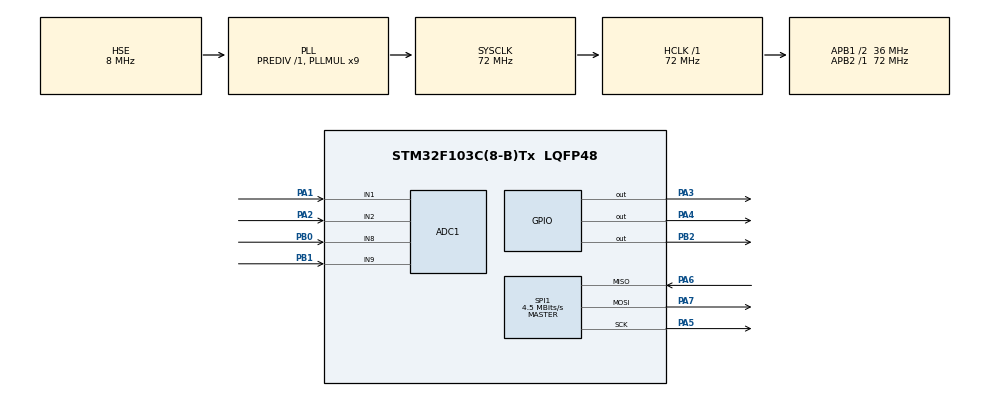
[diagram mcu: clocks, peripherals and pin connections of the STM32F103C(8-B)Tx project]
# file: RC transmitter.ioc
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ADC1.Channel-0\#ChannelRegularConversion=ADC_CHANNEL_1
ADC1.Channel-1\#ChannelRegularConversion=ADC_CHANNEL_2
ADC1.Channel-2\#ChannelRegularConversion=ADC_CHANNEL_8
ADC1.Channel-3\#ChannelRegularConversion=ADC_CHANNEL_9
ADC1.ContinuousConvMode=ENABLE
ADC1.NbrOfConversion=4
ADC1.NbrOfConversionFlag=1
ADC1.Rank-0\#ChannelRegularConversion=1
ADC1.Rank-1\#ChannelRegularConversion=2
ADC1.Rank-2\#ChannelRegularConversion=3
ADC1.Rank-3\#ChannelRegularConversion=4
ADC1.SamplingTime-0\#ChannelRegularConversion=ADC_SAMPLETIME_55CYCLES_5
ADC1.SamplingTime-1\#ChannelRegularConversion=ADC_SAMPLETIME_55CYCLES_5
ADC1.SamplingTime-2\#ChannelRegularConversion=ADC_SAMPLETIME_55CYCLES_5
ADC1.SamplingTime-3\#ChannelRegularConversion=ADC_SAMPLETIME_55CYCLES_5
ADC1.master=1
Dma.ADC1.0.Direction=DMA_PERIPH_TO_MEMORY
Dma.ADC1.0.Instance=DMA1_Channel1
Dma.ADC1.0.MemDataAlignment=DMA_MDATAALIGN_HALFWORD
Dma.ADC1.0.MemInc=DMA_MINC_ENABLE
Dma.ADC1.0.Mode=DMA_CIRCULAR
Dma.ADC1.0.PeriphDataAlignment=DMA_PDATAALIGN_HALFWORD
Dma.ADC1.0.PeriphInc=DMA_PINC_DISABLE
Dma.ADC1.0.Priority=DMA_PRIORITY_HIGH
Dma.Request0=ADC1
Mcu.Family=STM32F1
Mcu.Name=STM32F103C(8-B)Tx
Mcu.Package=LQFP48
NVIC.DMA1_Channel1_IRQn=true\:0\:0\:false\:false\:true\:false\:true\:true
NVIC.PriorityGroup=NVIC_PRIORITYGROUP_4
PA1.Signal=ADCx_IN1
PA13.Mode=Serial_Wire
PA13.Signal=SYS_JTMS-SWDIO
PA14.Mode=Serial_Wire
PA14.Signal=SYS_JTCK-SWCLK
PA2.Signal=ADCx_IN2
PA3.Signal=GPIO_Output
PA4.Signal=GPIO_Output
PA5.Mode=Full_Duplex_Master
PA5.Signal=SPI1_SCK
PA6.Mode=Full_Duplex_Master
PA6.Signal=SPI1_MISO
PA7.Mode=Full_Duplex_Master
PA7.Signal=SPI1_MOSI
PB0.Signal=ADCx_IN8
PB1.Signal=ADCx_IN9
PB2.Signal=GPIO_Output
PD0-OSC_IN.Mode=HSE-External-Oscillator
PD0-OSC_IN.Signal=RCC_OSC_IN
PD1-OSC_OUT.Mode=HSE-External-Oscillator
PD1-OSC_OUT.Signal=RCC_OSC_OUT
ProjectManager.HeapSize=0x200
ProjectManager.StackSize=0x400
ProjectManager.TargetToolchain=STM32CubeIDE
RCC.ADCPresc=RCC_ADCPCLK2_DIV6
RCC.AHBFreq_Value=72000000
RCC.APB1CLKDivider=RCC_HCLK_DIV2
RCC.APB1Freq_Value=36000000
RCC.APB1TimFreq_Value=72000000
RCC.APB2Freq_Value=72000000
RCC.APB2TimFreq_Value=72000000
RCC.HCLKFreq_Value=72000000
RCC.PLLMUL=RCC_PLL_MUL9
RCC.PLLSourceVirtual=RCC_PLLSOURCE_HSE
RCC.SYSCLKFreq_VALUE=72000000
RCC.SYSCLKSource=RCC_SYSCLKSOURCE_PLLCLK
RCC.USBFreq_Value=72000000
SH.ADCx_IN1.0=ADC1_IN1,IN1
SH.ADCx_IN2.0=ADC1_IN2,IN2
SH.ADCx_IN8.0=ADC1_IN8,IN8
SH.ADCx_IN9.0=ADC1_IN9,IN9
SPI1.BaudRatePrescaler=SPI_BAUDRATEPRESCALER_16
SPI1.CalculateBaudRate=4.5 MBits/s
SPI1.DataSize=SPI_DATASIZE_8BIT
SPI1.Direction=SPI_DIRECTION_2LINES
SPI1.Mode=SPI_MODE_MASTER
SPI1.VirtualType=VM_MASTER
board=custom

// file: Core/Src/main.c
/* USER CODE BEGIN Header */
/**
  ******************************************************************************
  * @file           : main.c
  * @brief          : Main program body
  ******************************************************************************
  * @attention
  *
  * Copyright (c) 2026 STMicroelectronics.
  * All rights reserved.
  *
  * This software is licensed under terms that can be found in the LICENSE file
  * in the root directory of this software component.
  * If no LICENSE file comes with this software, it is provided AS-IS.
  *
  ******************************************************************************
  */
/* USER CODE END Header */
#include "main.h"

/* USER CODE BEGIN Includes */
#include "NRF24L01.h"
#include "math.h"
/* USER CODE END Includes */

/* USER CODE BEGIN PTD */
typedef struct {
	uint16_t Throttle;
	uint16_t Roll;
	uint16_t Rudder;
	uint16_t Elevator;
}Control;
/* USER CODE END PTD */

ADC_HandleTypeDef hadc1;
DMA_HandleTypeDef hdma_adc1;

SPI_HandleTypeDef hspi1;

/* USER CODE BEGIN PV */
uint8_t TxAddress[] = {0xEE,0xDD,0xCC,0xBB,0xAA};
uint16_t adc_values[4];
float x_f = 3200.0f;
float y_f = 3030.0f;
float x1_f = 3210.0f;
float y1_f = 3120.0f;
Control rc_plane;
/* USER CODE END PV */

void SystemClock_Config(void);
static void MX_GPIO_Init(void);
static void MX_DMA_Init(void);
static void MX_ADC1_Init(void);
static void MX_SPI1_Init(void);

/* USER CODE BEGIN 0 */
int SoftDeadzone(int value, int center, int dead, float expo, float max, float min) {
    int diff = value - center;
    int abs_diff = abs(diff);
    if (abs_diff <= dead) return 1500;
    int max_range = (diff > 0) ? (4095 - center - dead) : (center - dead - 10);
    if (max_range <= 0) return 1500;
    float normalized = (float)(abs_diff - dead) / max_range;
    if (normalized > 1.0f) normalized = 1.0f;
    float curved = powf(normalized, expo);
    float output;
    if (diff > 0) {
    	output = 1500.0f + (curved * (max - 1500.0f));
    } else {
    	output = 1500.0f - (curved * (1500.0f - min));
    }
    return (int)output;
}
/* USER CODE END 0 */

int main(void)
{

  /* MCU Configuration--------------------------------------------------------*/

  /* Reset of all peripherals, Initializes the Flash interface and the Systick. */
  HAL_Init();

  /* Configure the system clock */
  SystemClock_Config();

  /* Initialize all configured peripherals */
  MX_GPIO_Init();
  MX_DMA_Init();
  MX_ADC1_Init();
  MX_SPI1_Init();
  /* USER CODE BEGIN 2 */
  HAL_ADCEx_Calibration_Start(&hadc1);
  HAL_ADC_Start_DMA(&hadc1, (uint32_t*)adc_values, 4);
  NRF24_Init();
  NRF24_TxMode(TxAddress, 76);
  /* USER CODE END 2 */

  /* Infinite loop */
  /* USER CODE BEGIN WHILE */
  while (1)
  {
	  x_f = (adc_values[0] * 0.3f) + (x_f * 0.7f);
	  y_f = (adc_values[1] * 0.3f) + (y_f * 0.7f);
	  x1_f = (adc_values[3] * 0.3f) + (x1_f * 0.7f);
	  y1_f = (adc_values[2] * 0.3f) + (y1_f * 0.7f);

	  rc_plane.Throttle = SoftDeadzone((int)y_f, 3030, 6, 1.2f, 2500.0f, 500.0f);
	  rc_plane.Roll = 3000-(SoftDeadzone((int)x1_f, 3200, 6, 1.2f, 2050.0f, 950.0f));
	  rc_plane.Rudder = 3000-(SoftDeadzone((int)x_f, 3200, 6, 1.2f, 1900.0f, 1100.0f));
	  rc_plane.Elevator = 3000-(SoftDeadzone((int)y1_f, 3120, 6, 1.2f, 1900.0f, 900.0f));

	  if (NRF24_Transmit((uint8_t *)&rc_plane) == 1){
	  		  HAL_GPIO_WritePin(GPIOB, GPIO_PIN_2, 1);
	  	  }else{
	  		  HAL_GPIO_WritePin(GPIOB, GPIO_PIN_2, 0);
	  	  }

	  HAL_Delay(10);
	  //throttle = 3000 - throttle;

    /* USER CODE END WHILE */

  }
}

void SystemClock_Config(void)
{
  RCC_OscInitTypeDef RCC_OscInitStruct = {0};
  RCC_ClkInitTypeDef RCC_ClkInitStruct = {0};
  RCC_PeriphCLKInitTypeDef PeriphClkInit = {0};

  /** Initializes the RCC Oscillators according to the specified parameters
  * in the RCC_OscInitTypeDef structure.
  */
  RCC_OscInitStruct.OscillatorType = RCC_OSCILLATORTYPE_HSE;
  RCC_OscInitStruct.HSEState = RCC_HSE_ON;
  RCC_OscInitStruct.HSEPredivValue = RCC_HSE_PREDIV_DIV1;
  RCC_OscInitStruct.HSIState = RCC_HSI_ON;
  RCC_OscInitStruct.PLL.PLLState = RCC_PLL_ON;
  RCC_OscInitStruct.PLL.PLLSource = RCC_PLLSOURCE_HSE;
  RCC_OscInitStruct.PLL.PLLMUL = RCC_PLL_MUL9;
  if (HAL_RCC_OscConfig(&RCC_OscInitStruct) != HAL_OK)
  {
    Error_Handler();
  }

  /** Initializes the CPU, AHB and APB buses clocks
  */
  RCC_ClkInitStruct.ClockType = RCC_CLOCKTYPE_HCLK|RCC_CLOCKTYPE_SYSCLK
                              |RCC_CLOCKTYPE_PCLK1|RCC_CLOCKTYPE_PCLK2;
  RCC_ClkInitStruct.SYSCLKSource = RCC_SYSCLKSOURCE_PLLCLK;
  RCC_ClkInitStruct.AHBCLKDivider = RCC_SYSCLK_DIV1;
  RCC_ClkInitStruct.APB1CLKDivider = RCC_HCLK_DIV2;
  RCC_ClkInitStruct.APB2CLKDivider = RCC_HCLK_DIV1;

  if (HAL_RCC_ClockConfig(&RCC_ClkInitStruct, FLASH_LATENCY_2) != HAL_OK)
  {
    Error_Handler();
  }
  PeriphClkInit.PeriphClockSelection = RCC_PERIPHCLK_ADC;
  PeriphClkInit.AdcClockSelection = RCC_ADCPCLK2_DIV6;
  if (HAL_RCCEx_PeriphCLKConfig(&PeriphClkInit) != HAL_OK)
  {
    Error_Handler();
  }
}

static void MX_ADC1_Init(void)
{

  ADC_ChannelConfTypeDef sConfig = {0};

  /** Common config
  */
  hadc1.Instance = ADC1;
  hadc1.Init.ScanConvMode = ADC_SCAN_ENABLE;
  hadc1.Init.ContinuousConvMode = ENABLE;
  hadc1.Init.DiscontinuousConvMode = DISABLE;
  hadc1.Init.ExternalTrigConv = ADC_SOFTWARE_START;
  hadc1.Init.DataAlign = ADC_DATAALIGN_RIGHT;
  hadc1.Init.NbrOfConversion = 4;
  if (HAL_ADC_Init(&hadc1) != HAL_OK)
  {
    Error_Handler();
  }

  /** Configure Regular Channel
  */
  sConfig.Channel = ADC_CHANNEL_1;
  sConfig.Rank = ADC_REGULAR_RANK_1;
  sConfig.SamplingTime = ADC_SAMPLETIME_55CYCLES_5;
  if (HAL_ADC_ConfigChannel(&hadc1, &sConfig) != HAL_OK)
  {
    Error_Handler();
  }

  /** Configure Regular Channel
  */
  sConfig.Channel = ADC_CHANNEL_2;
  sConfig.Rank = ADC_REGULAR_RANK_2;
  if (HAL_ADC_ConfigChannel(&hadc1, &sConfig) != HAL_OK)
  {
    Error_Handler();
  }

  /** Configure Regular Channel
  */
  sConfig.Channel = ADC_CHANNEL_8;
  sConfig.Rank = ADC_REGULAR_RANK_3;
  if (HAL_ADC_ConfigChannel(&hadc1, &sConfig) != HAL_OK)
  {
    Error_Handler();
  }

  /** Configure Regular Channel
  */
  sConfig.Channel = ADC_CHANNEL_9;
  sConfig.Rank = ADC_REGULAR_RANK_4;
  if (HAL_ADC_ConfigChannel(&hadc1, &sConfig) != HAL_OK)
  {
    Error_Handler();
  }

}

static void MX_SPI1_Init(void)
{

  /* SPI1 parameter configuration*/
  hspi1.Instance = SPI1;
  hspi1.Init.Mode = SPI_MODE_MASTER;
  hspi1.Init.Direction = SPI_DIRECTION_2LINES;
  hspi1.Init.DataSize = SPI_DATASIZE_8BIT;
  hspi1.Init.CLKPolarity = SPI_POLARITY_LOW;
  hspi1.Init.CLKPhase = SPI_PHASE_1EDGE;
  hspi1.Init.NSS = SPI_NSS_SOFT;
  hspi1.Init.BaudRatePrescaler = SPI_BAUDRATEPRESCALER_16;
  hspi1.Init.FirstBit = SPI_FIRSTBIT_MSB;
  hspi1.Init.TIMode = SPI_TIMODE_DISABLE;
  hspi1.Init.CRCCalculation = SPI_CRCCALCULATION_DISABLE;
  hspi1.Init.CRCPolynomial = 10;
  if (HAL_SPI_Init(&hspi1) != HAL_OK)
  {
    Error_Handler();
  }

}

static void MX_DMA_Init(void)
{

  /* DMA controller clock enable */
  __HAL_RCC_DMA1_CLK_ENABLE();

  /* DMA interrupt init */
  /* DMA1_Channel1_IRQn interrupt configuration */
  HAL_NVIC_SetPriority(DMA1_Channel1_IRQn, 0, 0);
  HAL_NVIC_EnableIRQ(DMA1_Channel1_IRQn);

}

static void MX_GPIO_Init(void)
{
  GPIO_InitTypeDef GPIO_InitStruct = {0};

  /* GPIO Ports Clock Enable */
  __HAL_RCC_GPIOD_CLK_ENABLE();
  __HAL_RCC_GPIOA_CLK_ENABLE();
  __HAL_RCC_GPIOB_CLK_ENABLE();

  /*Configure GPIO pin Output Level */
  HAL_GPIO_WritePin(GPIOA, GPIO_PIN_3|GPIO_PIN_4, GPIO_PIN_RESET);

  /*Configure GPIO pin Output Level */
  HAL_GPIO_WritePin(GPIOB, GPIO_PIN_2, GPIO_PIN_RESET);

  /*Configure GPIO pins : PA3 PA4 */
  GPIO_InitStruct.Pin = GPIO_PIN_3|GPIO_PIN_4;
  GPIO_InitStruct.Mode = GPIO_MODE_OUTPUT_PP;
  GPIO_InitStruct.Pull = GPIO_NOPULL;
  GPIO_InitStruct.Speed = GPIO_SPEED_FREQ_LOW;
  HAL_GPIO_Init(GPIOA, &GPIO_InitStruct);

  /*Configure GPIO pin : PB2 */
  GPIO_InitStruct.Pin = GPIO_PIN_2;
  GPIO_InitStruct.Mode = GPIO_MODE_OUTPUT_PP;
  GPIO_InitStruct.Pull = GPIO_NOPULL;
  GPIO_InitStruct.Speed = GPIO_SPEED_FREQ_LOW;
  HAL_GPIO_Init(GPIOB, &GPIO_InitStruct);

}

void Error_Handler(void)
{
  __disable_irq();
  while (1)
  {
  }
}
